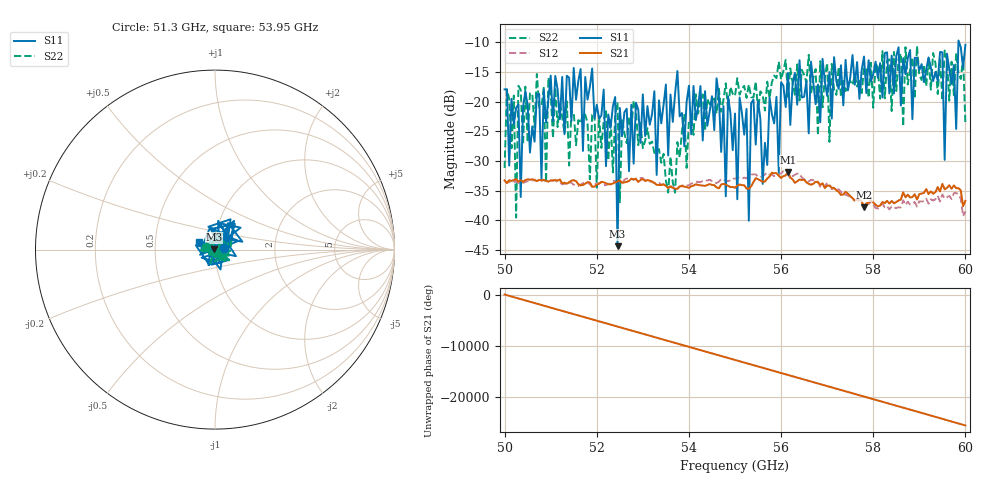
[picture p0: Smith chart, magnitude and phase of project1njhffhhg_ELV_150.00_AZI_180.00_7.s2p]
! 11/24/2026 10:10:14 AM
! C:\ANRITSUVNA\TEMP\TEMP.S2P
! CHANNEL.1
! TR.MEASUREMENT
! RAW.DATA
# HZ S RI R 50.0
! FREQ.HZ  S11RE  S11IM  S21RE  S21IM  S12RE  S12IM  S22RE  S22IM
!; PortSelection: Port_12
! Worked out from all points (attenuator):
!   201 points, 50 GHz to 60 GHz, reference 50 ohm
!   highest |S21| = -31.93 dB at 56.15 GHz (marker M1); lowest = -37.8 dB at 57.8 GHz (marker M2)
!   lowest |S11| = -44.4 dB at 52.45 GHz (marker M3), VSWR 1.01, Z = 49.4 + j0.088 ohm
!   |S11| at or under -10 dB: start of sweep to 59.85 GHz; 59.86283 GHz to end of sweep
!   |S22| runs from -39.6 to -10.6 dB; largest |S21 - S12| = 0.039
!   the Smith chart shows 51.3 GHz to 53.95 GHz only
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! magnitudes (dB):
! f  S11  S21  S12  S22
! 50 GHz  -17.9  -33.3  -33.4  -31.2
! 50.2 GHz  -23.9  -33.2  -33.6  -19.0
! 50.25 GHz  -21.1  -33.1  -33.5  -39.6
! 50.35 GHz  -36.1  -33.2  -33.4  -18.0
! 50.45 GHz  -18.3  -33.2  -33.6  -17.5
! 51.7 GHz  -28.3  -34.1  -33.8  -22.0
! 52.4 GHz  -19.2  -33.6  -33.4  -22.3
! 52.45 GHz  -44.4  -33.5  -33.7  -20.1
! 52.5 GHz  -21.1  -33.3  -33.7  -37.0
! 53.35 GHz  -19.8  -34.1  -33.7  -28.0
! 55 GHz  -22.0  -34.5  -33.0  -19.1
! 55.25 GHz  -21.2  -34.7  -33.0  -19.4
! 55.3 GHz  -40.1  -34.7  -32.6  -17.1
! 55.35 GHz  -20.3  -34.3  -32.3  -19.3
! 56.15 GHz  -15.2  -31.9  -32.2  -19.2
! 56.7 GHz  -16.8  -33.8  -33.3  -16.0
! 57.8 GHz  -12.4  -37.8  -38.1  -14.2
! 58.35 GHz  -18.6  -37.2  -38.2  -12.9
! 59.5 GHz  -11.7  -33.9  -35.6  -19.8
! 59.55 GHz  -29.8  -34.8  -36.3  -11.4
! 59.6 GHz  -11.9  -34.5  -36.1  -13.0
! 60 GHz  -10.4  -36.7  -38.5  -23.7
